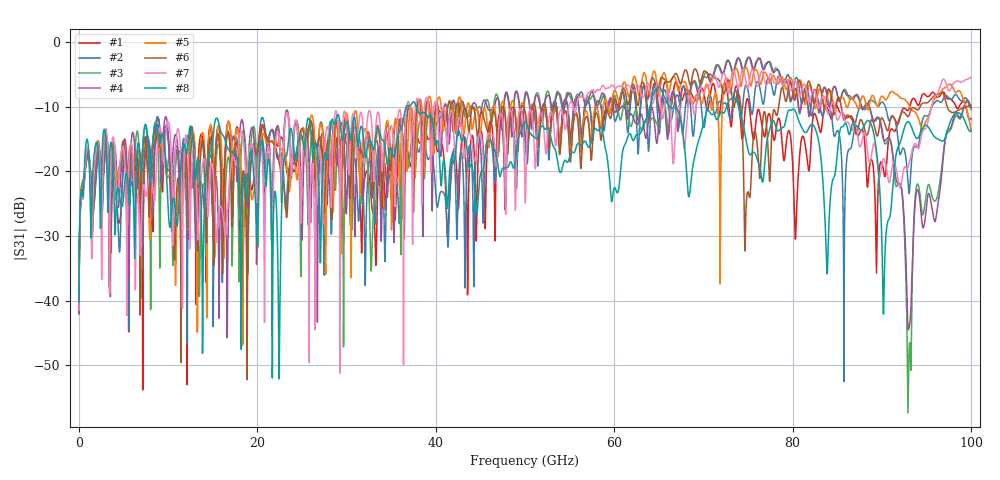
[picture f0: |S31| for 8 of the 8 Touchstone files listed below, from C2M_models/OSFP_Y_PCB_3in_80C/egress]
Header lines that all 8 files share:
# GHz S RI R 45
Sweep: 25 MHz to 100 GHz
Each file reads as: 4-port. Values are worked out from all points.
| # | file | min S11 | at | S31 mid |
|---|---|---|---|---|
| 1 | C2M_Y_OSFP224_3in_host_PCB_80C_FEXT_TP0_Tx1_to_TP1a_Tx7.s4p | -49.2 dB | 18.45 GHz | -14.8 dB at 50.02 GHz |
| 2 | C2M_Y_OSFP224_3in_host_PCB_80C_FEXT_TP0_Tx2_to_TP1a_Tx7.s4p | -57.0 dB | 18.2 GHz | -14.6 dB at 50.02 GHz |
| 3 | C2M_Y_OSFP224_3in_host_PCB_80C_FEXT_TP0_Tx3_to_TP1a_Tx7.s4p | -46.9 dB | 16.2 GHz | -8.5 dB at 50.02 GHz |
| 4 | C2M_Y_OSFP224_3in_host_PCB_80C_FEXT_TP0_Tx4_to_TP1a_Tx7.s4p | -47.2 dB | 11.5 GHz | -8.0 dB at 50.02 GHz |
| 5 | C2M_Y_OSFP224_3in_host_PCB_80C_FEXT_TP0_Tx5_to_TP1a_Tx7.s4p | -48.8 dB | 19.62 GHz | -11.1 dB at 50.02 GHz |
| 6 | C2M_Y_OSFP224_3in_host_PCB_80C_FEXT_TP0_Tx6_to_TP1a_Tx7.s4p | -48.8 dB | 6.825 GHz | -10.8 dB at 50.02 GHz |
| 7 | C2M_Y_OSFP224_3in_host_PCB_80C_FEXT_TP0_Tx8_to_TP1a_Tx7.s4p | -55.0 dB | 24.8 GHz | -24.0 dB at 50.02 GHz |
| 8 | C2M_Y_OSFP224_3in_host_PCB_80C_NEXT_TP1a_Rx6_to_TP1a_Tx7.s4p | -40.4 dB | 27.05 GHz | -12.4 dB at 50.02 GHz |
